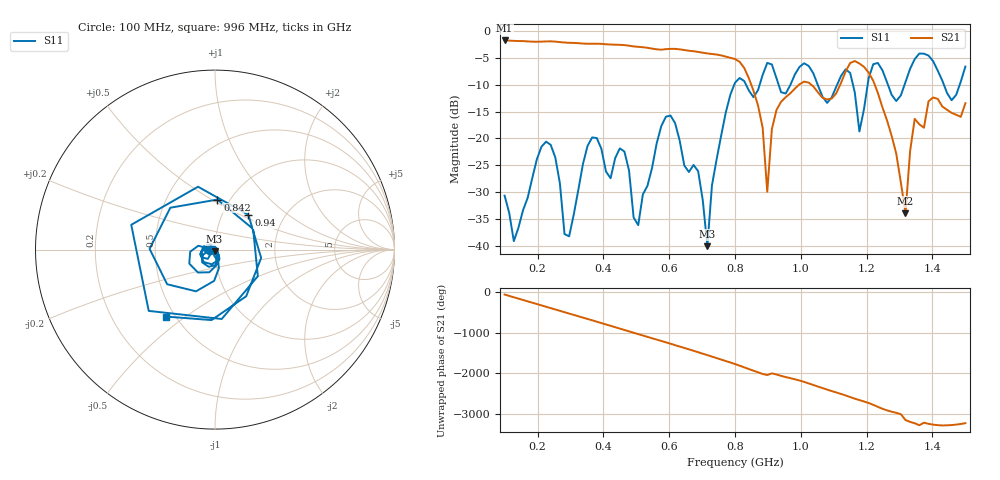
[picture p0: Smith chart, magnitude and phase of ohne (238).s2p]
! NanoVNA-App
! Date: 2025-09-25 14:22:39
! Start: 100MHz Stop: 1,5GHz Points: 101
! S-Parameter data: F S11 S21 S12 S22
# Hz S RI R 50
!  Frequency  S11_Real  S11_Imag  S21_Real  S21_Imag  S12_Real  S12_Imag  S22_Real  S22_Imag
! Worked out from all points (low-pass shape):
!   101 points, 100 MHz to 1.5 GHz, reference 50 ohm
!   highest |S21| = -1.79 dB at 100 MHz (marker M1); lowest = -33.9 dB at 1.318 GHz (marker M2)
!   |S21| within 3 dB of the highest: start of sweep to 771.6 MHz
!   lowest |S11| = -40.0 dB at 716 MHz (marker M3), VSWR 1.02, Z = 49.8 - j0.968 ohm
!   |S11| at or under -10 dB: start of sweep to 797.8 MHz; 833.3 MHz to 875.1 MHz (41.81 MHz wide, 4.89 % of centre); 1.051 GHz to 1.11 GHz (59.39 MHz wide, 5.49 % of centre) (the widest 3 of 7)
!   S12 and S22 are empty: the file has one direction only
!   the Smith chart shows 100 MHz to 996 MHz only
!   S11 on the Smith chart (normalised r, x): 100 MHz: 0.94, -0.01; 842 MHz: 0.88, +0.53; 940 MHz: 1.32, +0.55; 996 MHz: 0.45, -0.42
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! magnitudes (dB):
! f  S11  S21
! 100 MHz  -30.6  -1.8
! 128 MHz  -39.1  -1.9
! 226 MHz  -20.6  -2.0
! 296 MHz  -38.2  -2.2
! 338 MHz  -24.8  -2.4
! 464 MHz  -22.4  -2.7
! 506 MHz  -36.1  -3.0
! 576 MHz  -17.7  -3.5
! 688 MHz  -26.1  -3.9
! 716 MHz  -40.0  -4.2
! 800 MHz  -9.7  -5.2
! 842 MHz  -11.1  -8.8
! 898 MHz  -6.0  -29.9
! 940 MHz  -11.4  -13.2
! 996 MHz  -6.7  -9.9
! 1.038 GHz  -7.9  -10.3
! 1.178 GHz  -18.7  -6.1
! 1.22 GHz  -6.2  -9.3
! 1.276 GHz  -11.9  -19.5
! 1.318 GHz  -9.5  -33.9
! 1.346 GHz  -5.3  -16.4
! 1.5 GHz  -6.6  -13.5
